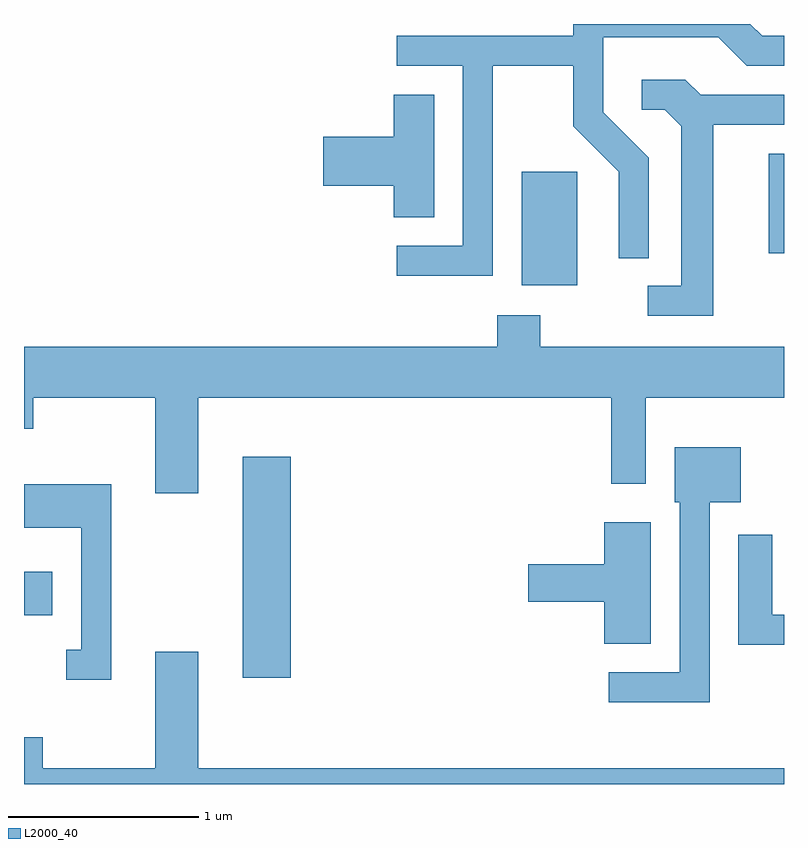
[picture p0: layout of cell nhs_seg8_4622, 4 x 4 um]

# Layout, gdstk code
import gdstk
lib = gdstk.Library(unit=1e-6, precision=1e-09)
def R(c, l, rs):  # rectangles x0, y0, x1, y1
    for r in rs: c.add(gdstk.rectangle(r[:2], r[2:], *l))
def P(c, l, *ps):  # polygons
    for p in ps: c.add(gdstk.Polygon(p, *l))
L2000_40 = (2000, 40)

nhs_seg8_4622 = lib.new_cell('nhs_seg8_4622')
R(nhs_seg8_4622, L2000_40, [(324.761,1874.901,325.014,1876.064), (323.611,1875.231,323.759,1875.459), (326.231,1876.966,326.524,1877.564), (327.531,1877.136,327.611,1877.659)])
P(nhs_seg8_4622, L2000_40, [(326.079,1878.121),(326.501,1878.121),(326.501,1877.804),(326.741,1877.564),(326.741,1877.108),(326.899,1877.108),(326.899,1877.637),(326.659,1877.877),(326.659,1878.271),(327.264,1878.271),(327.414,1878.121),(327.611,1878.121),(327.611,1878.279),(327.497,1878.279),(327.434,1878.342),(326.501,1878.342),(326.501,1878.279),(325.573,1878.279),(325.573,1878.121),(325.921,1878.121),(325.921,1877.174),(325.573,1877.174),(325.573,1877.016),(326.079,1877.016)],
  [(327.239,1877.811),(327.611,1877.811),(327.611,1877.969),(327.172,1877.969),(327.092,1878.049),(326.863,1878.049),(326.863,1877.891),(326.984,1877.891),(327.071,1877.804),(327.071,1876.964),(326.893,1876.964),(326.893,1876.806),(327.239,1876.806)],
  [(325.769,1877.969),(325.556,1877.969),(325.556,1877.749),(325.186,1877.749),(325.186,1877.491),(325.556,1877.491),(325.556,1877.326),(325.769,1877.326)],
  [(324.529,1876.376),(326.701,1876.376),(326.701,1875.921),(326.884,1875.921),(326.884,1876.376),(327.611,1876.376),(327.611,1876.644),(326.329,1876.644),(326.329,1876.809),(326.101,1876.809),(326.101,1876.644),(323.611,1876.644),(323.611,1876.211),(323.659,1876.211),(323.659,1876.376),(324.301,1876.376),(324.301,1875.871),(324.529,1875.871)],
  [(327.219,1875.826),(327.384,1875.826),(327.384,1876.114),(327.036,1876.114),(327.036,1875.826),(327.061,1875.826),(327.061,1874.929),(326.688,1874.929),(326.688,1874.771),(327.219,1874.771)],
  [(324.069,1875.919),(323.611,1875.919),(323.611,1875.691),(323.911,1875.691),(323.911,1875.049),(323.833,1875.049),(323.833,1874.891),(324.069,1874.891)],
  [(326.909,1875.719),(326.666,1875.719),(326.666,1875.499),(326.266,1875.499),(326.266,1875.301),(326.666,1875.301),(326.666,1875.081),(326.909,1875.081)],
  [(327.611,1875.234),(327.549,1875.234),(327.549,1875.654),(327.371,1875.654),(327.371,1875.076),(327.611,1875.076)],
  [(327.611,1874.424),(324.529,1874.424),(324.529,1875.039),(324.301,1875.039),(324.301,1874.424),(323.709,1874.424),(323.709,1874.589),(323.611,1874.589),(323.611,1874.342),(327.611,1874.342)])

lib.write_gds('nhs_seg8_4622.gds')
